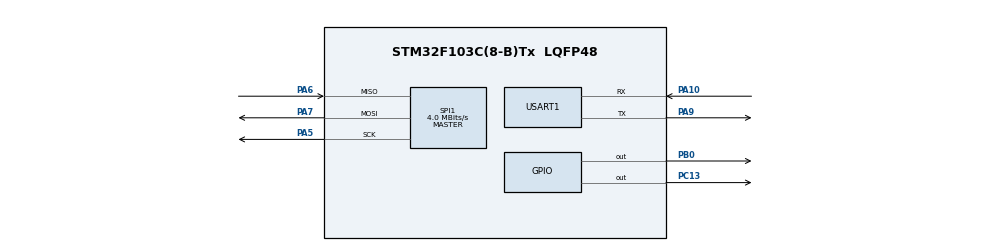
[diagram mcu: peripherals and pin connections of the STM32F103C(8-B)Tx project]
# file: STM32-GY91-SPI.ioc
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Dma.MEMTOMEM.0.Direction=DMA_MEMORY_TO_MEMORY
Dma.MEMTOMEM.0.Instance=DMA1_Channel1
Dma.MEMTOMEM.0.MemDataAlignment=DMA_MDATAALIGN_BYTE
Dma.MEMTOMEM.0.MemInc=DMA_MINC_ENABLE
Dma.MEMTOMEM.0.Mode=DMA_NORMAL
Dma.MEMTOMEM.0.PeriphDataAlignment=DMA_PDATAALIGN_BYTE
Dma.MEMTOMEM.0.PeriphInc=DMA_PINC_ENABLE
Dma.MEMTOMEM.0.Priority=DMA_PRIORITY_LOW
Dma.MEMTOMEM.1.Direction=DMA_MEMORY_TO_MEMORY
Dma.MEMTOMEM.1.Instance=DMA1_Channel2
Dma.MEMTOMEM.1.MemDataAlignment=DMA_MDATAALIGN_BYTE
Dma.MEMTOMEM.1.MemInc=DMA_MINC_ENABLE
Dma.MEMTOMEM.1.Mode=DMA_NORMAL
Dma.MEMTOMEM.1.PeriphDataAlignment=DMA_PDATAALIGN_BYTE
Dma.MEMTOMEM.1.PeriphInc=DMA_PINC_ENABLE
Dma.MEMTOMEM.1.Priority=DMA_PRIORITY_LOW
Dma.Request0=MEMTOMEM
Dma.Request1=MEMTOMEM
Mcu.Family=STM32F1
Mcu.Name=STM32F103C(8-B)Tx
Mcu.Package=LQFP48
NVIC.PriorityGroup=NVIC_PRIORITYGROUP_4
PA10.Mode=Asynchronous
PA10.Signal=USART1_RX
PA13.Mode=Serial_Wire
PA13.Signal=SYS_JTMS-SWDIO
PA14.Mode=Serial_Wire
PA14.Signal=SYS_JTCK-SWCLK
PA5.Mode=Full_Duplex_Master
PA5.Signal=SPI1_SCK
PA6.Mode=Full_Duplex_Master
PA6.Signal=SPI1_MISO
PA7.Mode=Full_Duplex_Master
PA7.Signal=SPI1_MOSI
PA9.Mode=Asynchronous
PA9.Signal=USART1_TX
PB0.PinState=GPIO_PIN_SET
PB0.Signal=GPIO_Output
PC13-TAMPER-RTC.Signal=GPIO_Output
PD0-OSC_IN.Mode=HSE-External-Oscillator
PD0-OSC_IN.Signal=RCC_OSC_IN
PD1-OSC_OUT.Mode=HSE-External-Oscillator
PD1-OSC_OUT.Signal=RCC_OSC_OUT
ProjectManager.HeapSize=0x200
ProjectManager.StackSize=0x400
ProjectManager.TargetToolchain=STM32CubeIDE
RCC.APB1Freq_Value=8000000
RCC.APB2Freq_Value=8000000
SPI1.CalculateBaudRate=4.0 MBits/s
SPI1.Direction=SPI_DIRECTION_2LINES
SPI1.Mode=SPI_MODE_MASTER
SPI1.VirtualType=VM_MASTER
USART1.VirtualMode=VM_ASYNC
board=custom

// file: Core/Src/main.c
/* USER CODE BEGIN Header */
/**
  ******************************************************************************
  * @file           : main.c
  * @brief          : Main program body
  ******************************************************************************
  * @attention
  *
  * Copyright (c) 2024 STMicroelectronics.
  * All rights reserved.
  *
  * This software is licensed under terms that can be found in the LICENSE file
  * in the root directory of this software component.
  * If no LICENSE file comes with this software, it is provided AS-IS.
  *
  ******************************************************************************
  */
/* USER CODE END Header */
#include "main.h"
#include "dma.h"
#include "spi.h"
#include "usart.h"
#include "gpio.h"

/* USER CODE BEGIN Includes */

#include <stdio.h>

#include <MPU9250.h>

#include "sensors/sensors_gy91.h"

/* USER CODE END Includes */

void SystemClock_Config(void);

int main(void)
{

  /* MCU Configuration--------------------------------------------------------*/

  /* Reset of all peripherals, Initializes the Flash interface and the Systick. */
  HAL_Init();

  /* Configure the system clock */
  SystemClock_Config();

  /* Initialize all configured peripherals */
  MX_DMA_Init();
  MX_GPIO_Init();
  MX_SPI1_Init();
  MX_USART1_UART_Init();
  /* USER CODE BEGIN 2 */
  printf("STM32 Initialized!\n");

  int status = sensor_gy91_init();
  if (status != SENSOR_OK){
	  printf ("Error initializing!\n");
  }

  /* USER CODE END 2 */
  /* Infinite loop */
  /* USER CODE BEGIN WHILE */

  int16_t gy91_accel[3];
  int16_t gy91_mag[3];
  int16_t gy91_gyro[3];

  while (1)
  {
    /* USER CODE END WHILE */

    /* USER CODE BEGIN 3 */

	sensor_gy91_read_all(gy91_accel, gy91_mag, gy91_gyro);

    printf("Accel : %6d %6d %6d\t", gy91_accel[0], gy91_accel[1], gy91_accel[2]);
    printf("Mag : %6d %6d %6d\t", gy91_mag[0],   gy91_mag[1],   gy91_mag[2]);
    printf("Gyro : %6d %6d %6d\n", gy91_gyro[0],  gy91_gyro[1],  gy91_gyro[2]);

	// Toogle LED
	HAL_GPIO_TogglePin(GPIOC, GPIO_PIN_13);
	HAL_Delay(500);
  }
  /* USER CODE END 3 */
}

void SystemClock_Config(void)
{
  RCC_OscInitTypeDef RCC_OscInitStruct = {0};
  RCC_ClkInitTypeDef RCC_ClkInitStruct = {0};

  /** Initializes the RCC Oscillators according to the specified parameters
  * in the RCC_OscInitTypeDef structure.
  */
  RCC_OscInitStruct.OscillatorType = RCC_OSCILLATORTYPE_HSI;
  RCC_OscInitStruct.HSIState = RCC_HSI_ON;
  RCC_OscInitStruct.HSICalibrationValue = RCC_HSICALIBRATION_DEFAULT;
  RCC_OscInitStruct.PLL.PLLState = RCC_PLL_NONE;
  if (HAL_RCC_OscConfig(&RCC_OscInitStruct) != HAL_OK)
  {
    Error_Handler();
  }

  /** Initializes the CPU, AHB and APB buses clocks
  */
  RCC_ClkInitStruct.ClockType = RCC_CLOCKTYPE_HCLK|RCC_CLOCKTYPE_SYSCLK
                              |RCC_CLOCKTYPE_PCLK1|RCC_CLOCKTYPE_PCLK2;
  RCC_ClkInitStruct.SYSCLKSource = RCC_SYSCLKSOURCE_HSI;
  RCC_ClkInitStruct.AHBCLKDivider = RCC_SYSCLK_DIV1;
  RCC_ClkInitStruct.APB1CLKDivider = RCC_HCLK_DIV1;
  RCC_ClkInitStruct.APB2CLKDivider = RCC_HCLK_DIV1;

  if (HAL_RCC_ClockConfig(&RCC_ClkInitStruct, FLASH_LATENCY_0) != HAL_OK)
  {
    Error_Handler();
  }
}

void Error_Handler(void)
{
  __disable_irq();
  while (1)
  {
  }
}
